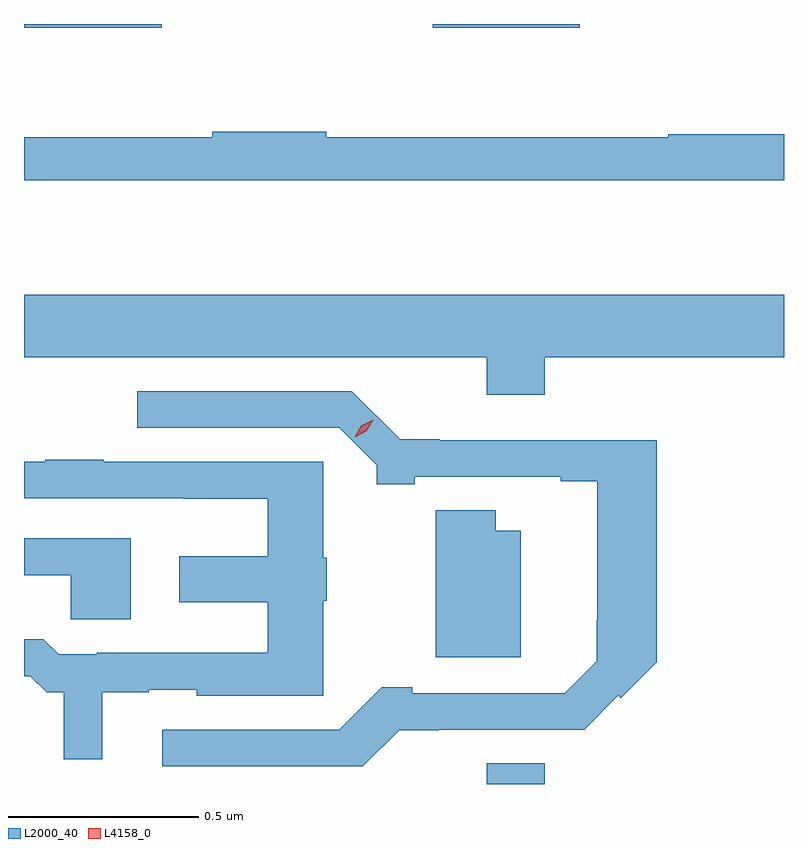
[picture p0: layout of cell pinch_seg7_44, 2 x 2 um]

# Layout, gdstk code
import gdstk
lib = gdstk.Library(unit=1e-6, precision=1e-09)
def R(c, l, rs):  # rectangles x0, y0, x1, y1
    for r in rs: c.add(gdstk.rectangle(r[:2], r[2:], *l))
def P(c, l, *ps):  # polygons
    for p in ps: c.add(gdstk.Polygon(p, *l))
L2000_40 = (2000, 40)
L4158_0 = (4158, 0)

pinch_seg7_44 = lib.new_cell('pinch_seg7_44')
R(pinch_seg7_44, L2000_40, [(1046.597,1060.765,1046.75,1060.819), (1045.379,1062.755,1045.741,1062.765), (1046.454,1062.755,1046.842,1062.765)])
P(pinch_seg7_44, L2000_40, [(1047.379,1062.475),(1047.074,1062.475),(1047.074,1062.467),(1046.174,1062.467),(1046.174,1062.482),(1045.874,1062.482),(1045.874,1062.467),(1045.379,1062.467),(1045.379,1062.354),(1047.379,1062.354)],
  [(1046.75,1061.888),(1047.379,1061.888),(1047.379,1062.052),(1045.379,1062.052),(1045.379,1061.888),(1046.597,1061.888),(1046.597,1061.789),(1046.75,1061.789)],
  [(1046.366,1060.907),(1046.47,1060.907),(1046.47,1060.908),(1046.853,1060.908),(1046.943,1060.999),(1046.95,1060.991),(1047.044,1061.085),(1047.044,1061.67),(1046.473,1061.67),(1046.473,1061.672),(1046.369,1061.672),(1046.241,1061.799),(1045.677,1061.799),(1045.677,1061.703),(1046.208,1061.703),(1046.307,1061.604),(1046.307,1061.554),(1046.407,1061.554),(1046.407,1061.574),(1046.792,1061.574),(1046.792,1061.562),(1046.888,1061.562),(1046.888,1061.194),(1046.886,1061.194),(1046.886,1061.088),(1046.802,1061.004),(1046.401,1061.004),(1046.401,1061.02),(1046.32,1061.02),(1046.208,1060.908),(1045.743,1060.908),(1045.743,1060.812),(1046.271,1060.812)],
  [(1045.585,1061.006),(1045.707,1061.006),(1045.707,1061.013),(1045.833,1061.013),(1045.833,1060.997),(1046.167,1060.997),(1046.167,1061.247),(1046.176,1061.247),(1046.176,1061.361),(1046.167,1061.361),(1046.167,1061.613),(1045.589,1061.613),(1045.589,1061.618),(1045.435,1061.618),(1045.435,1061.613),(1045.379,1061.613),(1045.379,1061.517),(1045.8,1061.517),(1045.8,1061.516),(1046.02,1061.516),(1046.02,1061.365),(1045.788,1061.365),(1045.788,1061.243),(1046.02,1061.243),(1046.02,1061.11),(1045.57,1061.11),(1045.57,1061.106),(1045.47,1061.106),(1045.43,1061.146),(1045.379,1061.146),(1045.379,1061.049),(1045.395,1061.049),(1045.439,1061.006),(1045.484,1061.006),(1045.484,1060.83),(1045.585,1060.83)],
  [(1046.686,1061.431),(1046.62,1061.431),(1046.62,1061.485),(1046.462,1061.485),(1046.462,1061.099),(1046.686,1061.099)],
  [(1045.66,1061.412),(1045.379,1061.412),(1045.379,1061.315),(1045.502,1061.315),(1045.502,1061.199),(1045.66,1061.199)])
P(pinch_seg7_44, L4158_0, [(1046.249,1061.678),(1046.249,1061.678),(1046.267,1061.708),(1046.298,1061.723),(1046.298,1061.723),(1046.298,1061.723),(1046.28,1061.693),(1046.249,1061.678)])

lib.write_gds('pinch_seg7_44.gds')
